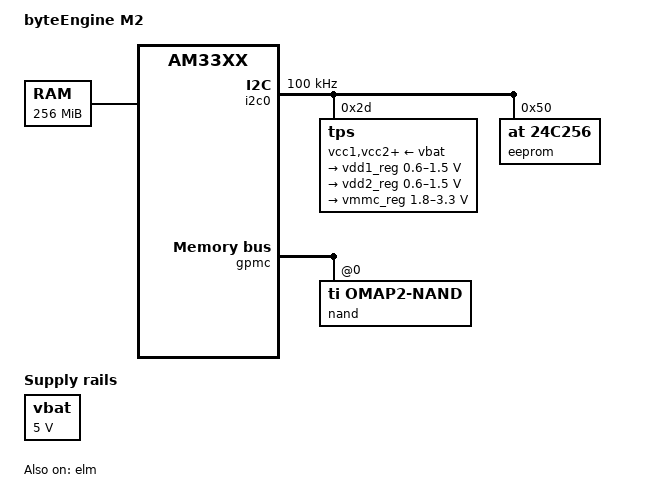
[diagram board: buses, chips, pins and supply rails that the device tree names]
/*
 * Copyright (C) 2015 Bytes at Work - http://www.bytesatwork.ch
 *
 * This program is free software; you can redistribute it and/or modify
 * it under the terms of the GNU General Public License version 2 as
 * published by the Free Software Foundation.
 */

#include "am33xx.dtsi"
#include <dt-bindings/pinctrl/am335x-names.h>

/ {
	model = "byteEngine M2";
	compatible = "batw,m2", "ti,am33xx";

	cpus {
		cpu@0 {
			cpu0-supply = <&vdd1_reg>;
		};
	};

	memory {
		device_type = "memory";
		reg = <0x80000000 0x10000000>;		// 256 MB
	};

	vbat: fixedregulator@0 {
		compatible = "regulator-fixed";
		regulator-name = "vbat";
		regulator-min-microvolt = <5000000>;
		regulator-max-microvolt = <5000000>;
		regulator-boot-on;
	};

};

&am33xx_pinmux {

	i2c0_pins: pinmux_i2c0_pins {
		pinctrl-single,pins = <
			PIN_I2C0_SDA		(PIN_INPUT_PULLUP | MUX_MODE0)
			PIN_I2C0_SCL		(PIN_INPUT_PULLUP | MUX_MODE0)
		>;
	};

	nandflash_pins_s0: pinmux_nandflash_pins_s0 {
		pinctrl-single,pins = <
			PIN_GPMC_AD0		(PIN_INPUT_PULLUP | MUX_MODE0)
			PIN_GPMC_AD1		(PIN_INPUT_PULLUP | MUX_MODE0)
			PIN_GPMC_AD2		(PIN_INPUT_PULLUP | MUX_MODE0)
			PIN_GPMC_AD3		(PIN_INPUT_PULLUP | MUX_MODE0)
			PIN_GPMC_AD4		(PIN_INPUT_PULLUP | MUX_MODE0)
			PIN_GPMC_AD5		(PIN_INPUT_PULLUP | MUX_MODE0)
			PIN_GPMC_AD6		(PIN_INPUT_PULLUP | MUX_MODE0)
			PIN_GPMC_AD7		(PIN_INPUT_PULLUP | MUX_MODE0)

			PIN_GPMC_WPN		(PIN_INPUT_PULLUP | MUX_MODE7)
			PIN_GPMC_CSN0		(PIN_OUTPUT | MUX_MODE0)
			PIN_GPMC_ADVN_ALE	(PIN_OUTPUT | MUX_MODE0)
			PIN_GPMC_BEN0_CLE	(PIN_OUTPUT | MUX_MODE0)
			PIN_GPMC_WEN		(PIN_OUTPUT | MUX_MODE0)
			PIN_GPMC_OEN_REN	(PIN_OUTPUT | MUX_MODE0)

			PIN_GPMC_WAIT0		(PIN_INPUT_PULLUP | MUX_MODE0)
		>;
	};
};

&i2c0 {
	pinctrl-names = "default";
	pinctrl-0 = <&i2c0_pins>;

	status = "okay";
	clock-frequency = <100000>;

	tps: tps@2d {
		reg = <0x2d>;
	};

	eeprom: eeprom@50 {
		reg = <0x50>;
	};
};

#include "tps65910.dtsi"

&tps {
	vcc1-supply = <&vbat>;
	vcc2-supply = <&vbat>;
	vcc3-supply = <&vbat>;
	vcc4-supply = <&vbat>;
	vcc5-supply = <&vbat>;
	vcc6-supply = <&vbat>;
	vcc7-supply = <&vbat>;
	vccio-supply = <&vbat>;

	regulators {
		vrtc_reg: regulator@0 {
			regulator-always-on;
		};

		vio_reg: regulator@1 {
			regulator-always-on;
		};

		vdd1_reg: regulator@2 {
			regulator-name = "vdd_mpu";
			regulator-min-microvolt = <600000>;
			regulator-max-microvolt = <1500000>;
			regulator-boot-on;
			regulator-always-on;
		};

		vdd2_reg: regulator@3 {
			regulator-name = "vdd_core";
			regulator-min-microvolt = <600000>;
			regulator-max-microvolt = <1500000>;
			regulator-boot-on;
			regulator-always-on;
		};

		vdd3_reg: regulator@4 {
			regulator-always-on;
		};

		vdig1_reg: regulator@5 {
			regulator-always-on;
		};

		vdig2_reg: regulator@6 {
			regulator-always-on;
		};

		vpll_reg: regulator@7 {
			regulator-always-on;
		};

		vdac_reg: regulator@8 {
			regulator-always-on;
		};

		vaux1_reg: regulator@9 {
			regulator-always-on;
		};

		vaux2_reg: regulator@10 {
			regulator-always-on;
		};

		vaux33_reg: regulator@11 {
			regulator-always-on;
		};

		vmmc_reg: regulator@12 {
			regulator-min-microvolt = <1800000>;
			regulator-max-microvolt = <3300000>;
			regulator-always-on;
		};
	};
};

&eeprom {
	status = "okay";
	compatible = "at,24c256";
};

&elm {
	status = "okay";
};

&gpmc {
	status = "okay";
	pinctrl-names = "default";
	pinctrl-0 = <&nandflash_pins_s0>;
	ranges = <0 0 0x08000000 0x10000000>;	// CS0: NAND
	nand: nand@0,0 {
		compatible = "ti,omap2-nand";
		reg = <0 0 4>; /* CS0, offset 0 */
		nand-bus-width = <8>;
		ti,nand-ecc-opt = "ham1";
		ti,elm-id = <&elm>;

		#address-cells = <1>;
		#size-cells = <1>;

		gpmc,device-nand = "true";
		gpmc,device-width = <1>;
		gpmc,sync-clk-ps = <0>;
		gpmc,cs-on-ns = <0>;
		gpmc,cs-rd-off-ns = <44>;
		gpmc,cs-wr-off-ns = <44>;
		gpmc,adv-on-ns = <6>;
		gpmc,adv-rd-off-ns = <34>;
		gpmc,adv-wr-off-ns = <44>;
		gpmc,we-on-ns = <0>;
		gpmc,we-off-ns = <40>;
		gpmc,oe-on-ns = <0>;
		gpmc,oe-off-ns = <54>;
		gpmc,access-ns = <64>;
		gpmc,rd-cycle-ns = <82>;
		gpmc,wr-cycle-ns = <82>;
		gpmc,wait-on-read = "true";
		gpmc,wait-on-write = "true";
		gpmc,bus-turnaround-ns = <0>;
		gpmc,cycle2cycle-delay-ns = <0>;
		gpmc,clk-activation-ns = <0>;
		gpmc,wait-monitoring-ns = <0>;
		gpmc,wr-access-ns = <40>;
		gpmc,wr-data-mux-bus-ns = <0>;
	};
};
